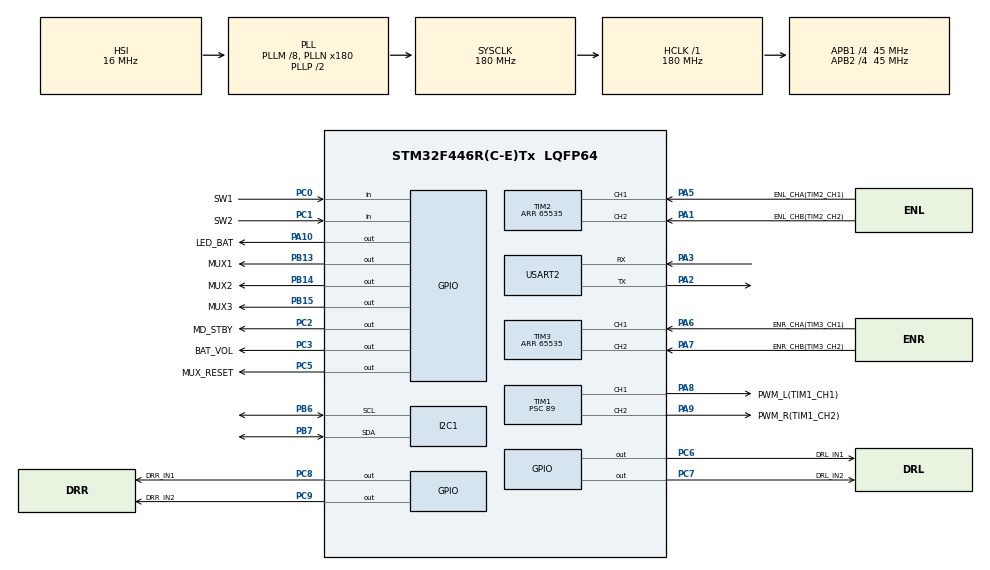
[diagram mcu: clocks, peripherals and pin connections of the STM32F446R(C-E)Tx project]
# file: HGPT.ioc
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I2C1.I2C_Mode=I2C_Standard
Mcu.Family=STM32F4
Mcu.Name=STM32F446R(C-E)Tx
Mcu.Package=LQFP64
NVIC.PriorityGroup=NVIC_PRIORITYGROUP_4
NVIC.TIM7_IRQn=true\:0\:0\:false\:false\:true\:true\:true
PA0-WKUP.Mode=SYS_WakeUp0
PA0-WKUP.Signal=SYS_WKUP0
PA1.GPIO_Label=ENL_CHB(TIM2_CH2)
PA1.Signal=S_TIM2_CH2
PA10.GPIO_Label=LED_BAT
PA10.Signal=GPIO_Output
PA13.Mode=JTAG_5_pins
PA13.Signal=SYS_JTMS-SWDIO
PA14.Mode=JTAG_5_pins
PA14.Signal=SYS_JTCK-SWCLK
PA15.Mode=JTAG_5_pins
PA15.Signal=SYS_JTDI
PA2.Mode=Asynchronous
PA2.Signal=USART2_TX
PA3.Mode=Asynchronous
PA3.Signal=USART2_RX
PA5.GPIO_Label=ENL_CHA(TIM2_CH1)
PA5.Signal=S_TIM2_CH1_ETR
PA6.GPIO_Label=ENR_CHA(TIM3_CH1)
PA6.Signal=S_TIM3_CH1
PA7.GPIO_Label=ENR_CHB(TIM3_CH2)
PA7.Signal=S_TIM3_CH2
PA8.GPIO_Label=PWM_L(TIM1_CH1)
PA8.Signal=S_TIM1_CH1
PA9.GPIO_Label=PWM_R(TIM1_CH2)
PA9.Signal=S_TIM1_CH2
PB13.GPIO_Label=MUX1
PB13.Signal=GPIO_Output
PB14.GPIO_Label=MUX2
PB14.Signal=GPIO_Output
PB15.GPIO_Label=MUX3
PB15.Signal=GPIO_Output
PB3.Mode=JTAG_5_pins
PB3.Signal=SYS_JTDO-SWO
PB4.Mode=JTAG_5_pins
PB4.Signal=SYS_JTRST
PB6.Mode=I2C
PB6.Signal=I2C1_SCL
PB7.Mode=I2C
PB7.Signal=I2C1_SDA
PC0.GPIO_Label=SW1
PC0.Signal=GPIO_Input
PC1.GPIO_Label=SW2
PC1.Signal=GPIO_Input
PC2.GPIO_Label=MD_STBY
PC2.Signal=GPIO_Output
PC3.GPIO_Label=BAT_VOL
PC3.Signal=GPIO_Output
PC5.GPIO_Label=MUX_RESET
PC5.Signal=GPIO_Output
PC6.GPIO_Label=DRL_IN1
PC6.Signal=GPIO_Output
PC7.GPIO_Label=DRL_IN2
PC7.Signal=GPIO_Output
PC8.GPIO_Label=DRR_IN1
PC8.Signal=GPIO_Output
PC9.GPIO_Label=DRR_IN2
PC9.Signal=GPIO_Output
PH0-OSC_IN.Mode=HSE-External-Clock-Source
PH0-OSC_IN.Signal=RCC_OSC_IN
PH1-OSC_OUT.Mode=HSE-External-Clock-Source
PH1-OSC_OUT.Signal=RCC_OSC_OUT
ProjectManager.HeapSize=0x200
ProjectManager.StackSize=0x400
ProjectManager.TargetToolchain=SW4STM32
RCC.AHBFreq_Value=180000000
RCC.APB1CLKDivider=RCC_HCLK_DIV4
RCC.APB1Freq_Value=45000000
RCC.APB1TimFreq_Value=90000000
RCC.APB2CLKDivider=RCC_HCLK_DIV4
RCC.APB2Freq_Value=45000000
RCC.APB2TimFreq_Value=90000000
RCC.CortexFreq_Value=180000000
RCC.HCLKFreq_Value=180000000
RCC.PLLM=8
RCC.PLLN=180
RCC.SYSCLKFreq_VALUE=180000000
RCC.SYSCLKSource=RCC_SYSCLKSOURCE_PLLCLK
RCC.USBFreq_Value=180000000
RCC.VCOOutputFreq_Value=360000000
SH.S_TIM1_CH1.0=TIM1_CH1,PWM Generation1 CH1
SH.S_TIM1_CH2.0=TIM1_CH2,PWM Generation2 CH2
SH.S_TIM2_CH1_ETR.0=TIM2_CH1,Encoder_Interface
SH.S_TIM2_CH2.0=TIM2_CH2,Encoder_Interface
SH.S_TIM3_CH1.0=TIM3_CH1,Encoder_Interface
SH.S_TIM3_CH2.0=TIM3_CH2,Encoder_Interface
TIM1.Channel-PWM\ Generation1\ CH1=TIM_CHANNEL_1
TIM1.Channel-PWM\ Generation2\ CH2=TIM_CHANNEL_2
TIM1.Period=999
TIM1.Prescaler=89
TIM2.EncoderMode=TIM_ENCODERMODE_TI12
TIM2.Period=65535
TIM3.EncoderMode=TIM_ENCODERMODE_TI12
TIM3.Period=65535
TIM7.AutoReloadPreload=TIM_AUTORELOAD_PRELOAD_ENABLE
TIM7.Period=999
TIM7.Prescaler=899
USART2.VirtualMode=VM_ASYNC
VP_TIM1_VS_ClockSourceINT.Mode=Internal
VP_TIM7_VS_ClockSourceINT.Mode=Enable_Timer
board=custom

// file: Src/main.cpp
/* USER CODE BEGIN Header */
/**
  ******************************************************************************
  * @file           : main.c
  * @brief          : Main program body
  ******************************************************************************
  * @attention
  *
  * <h2><center>&copy; Copyright (c) 2019 STMicroelectronics.
  * All rights reserved.</center></h2>
  *
  * This software component is licensed by ST under BSD 3-Clause license,
  * the "License"; You may not use this file except in compliance with the
  * License. You may obtain a copy of the License at:
  *                        opensource.org/licenses/BSD-3-Clause
  *
  ******************************************************************************
  */
/* USER CODE END Header */

#include "main.h"

/* USER CODE BEGIN Includes */
#include "led.hpp"
#include "motor.hpp"
#include "encoder.hpp"
#include "xprintf.h"
#include "mux.hpp"
#include "sensor.hpp"
#include "algo.hpp"
#include "transition.hpp"
/* USER CODE END Includes */

I2C_HandleTypeDef hi2c1;

TIM_HandleTypeDef htim1;
TIM_HandleTypeDef htim2;
TIM_HandleTypeDef htim3;
TIM_HandleTypeDef htim7;

UART_HandleTypeDef huart2;

void SystemClock_Config(void);
static void MX_GPIO_Init(void);
static void MX_I2C1_Init(void);
static void MX_TIM1_Init(void);
static void MX_TIM2_Init(void);
static void MX_TIM3_Init(void);
static void MX_USART2_UART_Init(void);
static void MX_TIM7_Init(void);

/* USER CODE BEGIN 0 */
LED led(GPIOA, GPIO_PIN_10);
Motor mtrl(&htim1, TIM_CHANNEL_1, GPIOC, GPIO_PIN_6, GPIOC, GPIO_PIN_7, GPIOC, GPIO_PIN_2);
Motor mtrr(&htim1, TIM_CHANNEL_2, GPIOC, GPIO_PIN_8, GPIOC, GPIO_PIN_9, GPIOC, GPIO_PIN_2);
Encoder encl(&htim2, TIM_CHANNEL_ALL, TIM2);
Encoder encr(&htim3, TIM_CHANNEL_ALL, TIM3);
mux myMux(GPIOC, GPIO_PIN_5, GPIOB, GPIO_PIN_13, GPIOB, GPIO_PIN_14, GPIOB, GPIO_PIN_15);
Sensor senFC(&hi2c1, &myMux, 0);
Sensor senFL(&hi2c1, &myMux, 1);
Sensor senLF(&hi2c1, &myMux, 2);
Sensor senLR(&hi2c1, &myMux, 3);
Sensor senRR(&hi2c1, &myMux, 4);
Sensor senRF(&hi2c1, &myMux, 5);
Sensor senFR(&hi2c1, &myMux, 6);
ALGO *algo;
TRANS *trans;
uint16_t lr = 0; // measurement in mm
uint16_t lf = 0; // measurement in mm
uint16_t fl = 0; // measurement in mm
uint16_t fc = 0; // measurement in mm
uint16_t fr = 0; // measurement in mm
uint16_t rf = 0; // measurement in mm
uint16_t rr = 0; // measurement in mm
float lrm = 0; // measurement in m
float lfm = 0; // measurement in m
float flm = 0; // measurement in m
float fcm = 0; // measurement in m
float frm = 0; // measurement in m
float rfm = 0; // measurement in m
float rrm = 0; // measurement in m
bool ready = false;

// Function definitions for xprintf
uint8_t uart_getc(void){
	uint8_t c = 0;
	char buf[1];
	HAL_UART_Receive(&huart2, (uint8_t *)buf, sizeof(buf), 0xFFFF);
	c = buf[0];
	return c;
}
void uart_putc(uint8_t c){
	char buf[1];
	buf[0] = c;
	HAL_UART_Transmit(&huart2, (uint8_t *)buf, sizeof(buf), 0xFFFF);
}
void uart_puts(char *str){
	while(*str){
		uart_putc(*str++);
	}
}
/* USER CODE END 0 */

int main(void)
{
  /* USER CODE BEGIN 1 */
 xdev_out(uart_putc);
 algo = new ALGO();
 trans = new TRANS();
  /* USER CODE END 1 */

  /* MCU Configuration--------------------------------------------------------*/

  /* Reset of all peripherals, Initializes the Flash interface and the Systick. */
  HAL_Init();

  /* Configure the system clock */
  SystemClock_Config();

  /* Initialize all configured peripherals */
  MX_GPIO_Init();
  MX_I2C1_Init();
  MX_TIM1_Init();
  MX_TIM2_Init();
  MX_TIM3_Init();
  MX_USART2_UART_Init();
  MX_TIM7_Init();
  /* USER CODE BEGIN 2 */

  // Start timer
  HAL_TIM_Base_Start_IT(&htim7);

  // Start left motor
  mtrl.start();
  mtrl.setPWMDuty(0);

  // Start right motor
  mtrr.start();
  mtrr.setPWMDuty(0);

  // Start Encoder
  encl.start();
  encr.start();

  // Initialize mux
  myMux.init();

  // Initialize sensors
  uint32_t delay_ms = 5;
  senLR.requestSingleMeasurement();
  HAL_Delay(delay_ms);
  senLF.requestSingleMeasurement();
  HAL_Delay(delay_ms);
  senFL.requestSingleMeasurement();
  HAL_Delay(delay_ms);
  senFC.requestSingleMeasurement();
  HAL_Delay(delay_ms);
  senFR.requestSingleMeasurement();
  HAL_Delay(delay_ms);
  senRF.requestSingleMeasurement();
  HAL_Delay(delay_ms);
  senRR.requestSingleMeasurement();
  HAL_Delay(delay_ms);

  // Start algorithm and transition
  trans->init();
  algo->init();

  // Blink LED to notify initialization complete
  for(int i=0;i<4;i++){
    led.on();
    HAL_Delay(50);
    led.off();
    HAL_Delay(50);
  }

  xprintf("Initialization complete\n");
  ready=true;
  /* USER CODE END 2 */

  /* Infinite loop */
  /* USER CODE BEGIN WHILE */
  while (1)
  {

    /* USER CODE BEGIN 3 */
	// Read switch
	bool sw1;
	if(HAL_GPIO_ReadPin(GPIOC, GPIO_PIN_0) == 1){
		sw1 = true;
	}else{
		sw1 = false;
	}
	bool sw2;
	if(HAL_GPIO_ReadPin(GPIOC, GPIO_PIN_1) == 1){
		sw2 = true;
	}else{
		sw2 = false;
	}

	// Read sensors
	uint32_t delay_ms = 2;

	lr = senLR.readSingleMeasurement(); // mm
	lrm = 0.001 * lr; // m
	HAL_Delay(delay_ms);

	lf = senLF.readSingleMeasurement(); // mm
	lfm = 0.001 * lf; // m
	HAL_Delay(delay_ms);

	fc = senFC.readSingleMeasurement(); // mm
	fcm = 0.001 * fc; // m
	HAL_Delay(delay_ms);

	fl = senFL.readSingleMeasurement(); // mm
	flm = 0.001 * fl; // m
	HAL_Delay(delay_ms);

	fr = senFR.readSingleMeasurement(); // mm
	frm = 0.001 * fr; // m
	HAL_Delay(delay_ms);

	rf = senRF.readSingleMeasurement(); // mm
	rfm = 0.001 * rf; // m
	HAL_Delay(delay_ms);

	rr = senRR.readSingleMeasurement(); // mm
	rrm = 0.001 * rr; // m
	HAL_Delay(delay_ms);

	// Blink LED
	static int i_blink=0;
	if((rf>100 && rf<300) || (fc>20 && fc<150)){
		if(i_blink==10){
			led.toggle();
			i_blink=0;
		}else{
			i_blink++;
		}
	}

	/*
	// Simple control logic
	float motTarVelL = 20*46/11;
	float motTarVelR = 20*46/11;
	if(fc>20 && fc<150){
		motTarVelL = 0;
		motTarVelR = 0;
	}
	else{
		if(rf>100 && rf<200){
			motTarVelL -= 50;
			motTarVelR += 50;
		}else{
			if(rf>100 && rf>200){
				motTarVelL += 50;
				motTarVelR -= 50;
			}
		}
	}
	*/

	// Control logic (switch algorithms)
	if(sw2){
		if(sw1){
			algo->calcTargetVelRH(fcm,flm,frm,lfm,lrm,rfm,rrm);
		}else{
			algo->calcTargetVelRH(fcm,flm,frm,lfm,lrm,rfm,rrm);
		}
	}else{
		if(sw1){
			algo->calcTargetVelDR(&encl, &encr);
		}else{
			algo->calcTargetVelDR(&encl, &encr);
		}
		// State transition for dead reckoning
		trans->takeTrans(algo->pos[0], algo->pos[1], algo);
	}

	// Convert wheel speed to motor speed
	float motTarVelL = algo->tarVelL * (46/11); // Compensate for gear ratio
	float motTarVelR = algo->tarVelR * (46/11); // Compensate for gear ratio

	// Set duty
	float k = 0.00047; // scale factor: target velocity -> duty
	mtrl.setPWMDuty(-k*motTarVelL);
	mtrr.setPWMDuty(k*motTarVelR);
  }
  /* USER CODE END 3 */
}

void SystemClock_Config(void)
{
  RCC_OscInitTypeDef RCC_OscInitStruct = {0};
  RCC_ClkInitTypeDef RCC_ClkInitStruct = {0};

  /** Configure the main internal regulator output voltage
  */
  __HAL_RCC_PWR_CLK_ENABLE();
  __HAL_PWR_VOLTAGESCALING_CONFIG(PWR_REGULATOR_VOLTAGE_SCALE1);
  /** Initializes the CPU, AHB and APB busses clocks
  */
  RCC_OscInitStruct.OscillatorType = RCC_OSCILLATORTYPE_HSI;
  RCC_OscInitStruct.HSIState = RCC_HSI_ON;
  RCC_OscInitStruct.HSICalibrationValue = RCC_HSICALIBRATION_DEFAULT;
  RCC_OscInitStruct.PLL.PLLState = RCC_PLL_ON;
  RCC_OscInitStruct.PLL.PLLSource = RCC_PLLSOURCE_HSI;
  RCC_OscInitStruct.PLL.PLLM = 8;
  RCC_OscInitStruct.PLL.PLLN = 180;
  RCC_OscInitStruct.PLL.PLLP = RCC_PLLP_DIV2;
  RCC_OscInitStruct.PLL.PLLQ = 2;
  RCC_OscInitStruct.PLL.PLLR = 2;
  if (HAL_RCC_OscConfig(&RCC_OscInitStruct) != HAL_OK)
  {
    Error_Handler();
  }
  /** Activate the Over-Drive mode
  */
  if (HAL_PWREx_EnableOverDrive() != HAL_OK)
  {
    Error_Handler();
  }
  /** Initializes the CPU, AHB and APB busses clocks
  */
  RCC_ClkInitStruct.ClockType = RCC_CLOCKTYPE_HCLK|RCC_CLOCKTYPE_SYSCLK
                              |RCC_CLOCKTYPE_PCLK1|RCC_CLOCKTYPE_PCLK2;
  RCC_ClkInitStruct.SYSCLKSource = RCC_SYSCLKSOURCE_PLLCLK;
  RCC_ClkInitStruct.AHBCLKDivider = RCC_SYSCLK_DIV1;
  RCC_ClkInitStruct.APB1CLKDivider = RCC_HCLK_DIV4;
  RCC_ClkInitStruct.APB2CLKDivider = RCC_HCLK_DIV4;

  if (HAL_RCC_ClockConfig(&RCC_ClkInitStruct, FLASH_LATENCY_5) != HAL_OK)
  {
    Error_Handler();
  }
}

static void MX_I2C1_Init(void)
{

  hi2c1.Instance = I2C1;
  hi2c1.Init.ClockSpeed = 100000;
  hi2c1.Init.DutyCycle = I2C_DUTYCYCLE_2;
  hi2c1.Init.OwnAddress1 = 0;
  hi2c1.Init.AddressingMode = I2C_ADDRESSINGMODE_7BIT;
  hi2c1.Init.DualAddressMode = I2C_DUALADDRESS_DISABLE;
  hi2c1.Init.OwnAddress2 = 0;
  hi2c1.Init.GeneralCallMode = I2C_GENERALCALL_DISABLE;
  hi2c1.Init.NoStretchMode = I2C_NOSTRETCH_DISABLE;
  if (HAL_I2C_Init(&hi2c1) != HAL_OK)
  {
    Error_Handler();
  }

}

static void MX_TIM1_Init(void)
{

  TIM_ClockConfigTypeDef sClockSourceConfig = {0};
  TIM_MasterConfigTypeDef sMasterConfig = {0};
  TIM_OC_InitTypeDef sConfigOC = {0};
  TIM_BreakDeadTimeConfigTypeDef sBreakDeadTimeConfig = {0};

  htim1.Instance = TIM1;
  htim1.Init.Prescaler = 89;
  htim1.Init.CounterMode = TIM_COUNTERMODE_UP;
  htim1.Init.Period = 999;
  htim1.Init.ClockDivision = TIM_CLOCKDIVISION_DIV1;
  htim1.Init.RepetitionCounter = 0;
  htim1.Init.AutoReloadPreload = TIM_AUTORELOAD_PRELOAD_DISABLE;
  if (HAL_TIM_Base_Init(&htim1) != HAL_OK)
  {
    Error_Handler();
  }
  sClockSourceConfig.ClockSource = TIM_CLOCKSOURCE_INTERNAL;
  if (HAL_TIM_ConfigClockSource(&htim1, &sClockSourceConfig) != HAL_OK)
  {
    Error_Handler();
  }
  if (HAL_TIM_PWM_Init(&htim1) != HAL_OK)
  {
    Error_Handler();
  }
  sMasterConfig.MasterOutputTrigger = TIM_TRGO_RESET;
  sMasterConfig.MasterSlaveMode = TIM_MASTERSLAVEMODE_DISABLE;
  if (HAL_TIMEx_MasterConfigSynchronization(&htim1, &sMasterConfig) != HAL_OK)
  {
    Error_Handler();
  }
  sConfigOC.OCMode = TIM_OCMODE_PWM1;
  sConfigOC.Pulse = 0;
  sConfigOC.OCPolarity = TIM_OCPOLARITY_HIGH;
  sConfigOC.OCNPolarity = TIM_OCNPOLARITY_HIGH;
  sConfigOC.OCFastMode = TIM_OCFAST_DISABLE;
  sConfigOC.OCIdleState = TIM_OCIDLESTATE_RESET;
  sConfigOC.OCNIdleState = TIM_OCNIDLESTATE_RESET;
  if (HAL_TIM_PWM_ConfigChannel(&htim1, &sConfigOC, TIM_CHANNEL_1) != HAL_OK)
  {
    Error_Handler();
  }
  if (HAL_TIM_PWM_ConfigChannel(&htim1, &sConfigOC, TIM_CHANNEL_2) != HAL_OK)
  {
    Error_Handler();
  }
  sBreakDeadTimeConfig.OffStateRunMode = TIM_OSSR_DISABLE;
  sBreakDeadTimeConfig.OffStateIDLEMode = TIM_OSSI_DISABLE;
  sBreakDeadTimeConfig.LockLevel = TIM_LOCKLEVEL_OFF;
  sBreakDeadTimeConfig.DeadTime = 0;
  sBreakDeadTimeConfig.BreakState = TIM_BREAK_DISABLE;
  sBreakDeadTimeConfig.BreakPolarity = TIM_BREAKPOLARITY_HIGH;
  sBreakDeadTimeConfig.AutomaticOutput = TIM_AUTOMATICOUTPUT_DISABLE;
  if (HAL_TIMEx_ConfigBreakDeadTime(&htim1, &sBreakDeadTimeConfig) != HAL_OK)
  {
    Error_Handler();
  }
  HAL_TIM_MspPostInit(&htim1);

}

static void MX_TIM2_Init(void)
{

  TIM_Encoder_InitTypeDef sConfig = {0};
  TIM_MasterConfigTypeDef sMasterConfig = {0};

  htim2.Instance = TIM2;
  htim2.Init.Prescaler = 0;
  htim2.Init.CounterMode = TIM_COUNTERMODE_UP;
  htim2.Init.Period = 65535;
  htim2.Init.ClockDivision = TIM_CLOCKDIVISION_DIV1;
  htim2.Init.AutoReloadPreload = TIM_AUTORELOAD_PRELOAD_DISABLE;
  sConfig.EncoderMode = TIM_ENCODERMODE_TI12;
  sConfig.IC1Polarity = TIM_ICPOLARITY_RISING;
  sConfig.IC1Selection = TIM_ICSELECTION_DIRECTTI;
  sConfig.IC1Prescaler = TIM_ICPSC_DIV1;
  sConfig.IC1Filter = 0;
  sConfig.IC2Polarity = TIM_ICPOLARITY_RISING;
  sConfig.IC2Selection = TIM_ICSELECTION_DIRECTTI;
  sConfig.IC2Prescaler = TIM_ICPSC_DIV1;
  sConfig.IC2Filter = 0;
  if (HAL_TIM_Encoder_Init(&htim2, &sConfig) != HAL_OK)
  {
    Error_Handler();
  }
  sMasterConfig.MasterOutputTrigger = TIM_TRGO_RESET;
  sMasterConfig.MasterSlaveMode = TIM_MASTERSLAVEMODE_DISABLE;
  if (HAL_TIMEx_MasterConfigSynchronization(&htim2, &sMasterConfig) != HAL_OK)
  {
    Error_Handler();
  }

}

static void MX_TIM3_Init(void)
{

  TIM_Encoder_InitTypeDef sConfig = {0};
  TIM_MasterConfigTypeDef sMasterConfig = {0};

  htim3.Instance = TIM3;
  htim3.Init.Prescaler = 0;
  htim3.Init.CounterMode = TIM_COUNTERMODE_UP;
  htim3.Init.Period = 65535;
  htim3.Init.ClockDivision = TIM_CLOCKDIVISION_DIV1;
  htim3.Init.AutoReloadPreload = TIM_AUTORELOAD_PRELOAD_DISABLE;
  sConfig.EncoderMode = TIM_ENCODERMODE_TI12;
  sConfig.IC1Polarity = TIM_ICPOLARITY_RISING;
  sConfig.IC1Selection = TIM_ICSELECTION_DIRECTTI;
  sConfig.IC1Prescaler = TIM_ICPSC_DIV1;
  sConfig.IC1Filter = 0;
  sConfig.IC2Polarity = TIM_ICPOLARITY_RISING;
  sConfig.IC2Selection = TIM_ICSELECTION_DIRECTTI;
  sConfig.IC2Prescaler = TIM_ICPSC_DIV1;
  sConfig.IC2Filter = 0;
  if (HAL_TIM_Encoder_Init(&htim3, &sConfig) != HAL_OK)
  {
    Error_Handler();
  }
  sMasterConfig.MasterOutputTrigger = TIM_TRGO_RESET;
  sMasterConfig.MasterSlaveMode = TIM_MASTERSLAVEMODE_DISABLE;
  if (HAL_TIMEx_MasterConfigSynchronization(&htim3, &sMasterConfig) != HAL_OK)
  {
    Error_Handler();
  }

}

static void MX_TIM7_Init(void)
{

  TIM_MasterConfigTypeDef sMasterConfig = {0};

  htim7.Instance = TIM7;
  htim7.Init.Prescaler = 899;
  htim7.Init.CounterMode = TIM_COUNTERMODE_UP;
  htim7.Init.Period = 999;
  htim7.Init.AutoReloadPreload = TIM_AUTORELOAD_PRELOAD_ENABLE;
  if (HAL_TIM_Base_Init(&htim7) != HAL_OK)
  {
    Error_Handler();
  }
  sMasterConfig.MasterOutputTrigger = TIM_TRGO_RESET;
  sMasterConfig.MasterSlaveMode = TIM_MASTERSLAVEMODE_DISABLE;
  if (HAL_TIMEx_MasterConfigSynchronization(&htim7, &sMasterConfig) != HAL_OK)
  {
    Error_Handler();
  }

}
static void MX_USART2_UART_Init(void)
{

  huart2.Instance = USART2;
  huart2.Init.BaudRate = 115200;
  huart2.Init.WordLength = UART_WORDLENGTH_8B;
  huart2.Init.StopBits = UART_STOPBITS_1;
  huart2.Init.Parity = UART_PARITY_NONE;
  huart2.Init.Mode = UART_MODE_TX_RX;
  huart2.Init.HwFlowCtl = UART_HWCONTROL_NONE;
  huart2.Init.OverSampling = UART_OVERSAMPLING_16;
  if (HAL_UART_Init(&huart2) != HAL_OK)
  {
    Error_Handler();
  }

}

static void MX_GPIO_Init(void)
{
  GPIO_InitTypeDef GPIO_InitStruct = {0};

  /* GPIO Ports Clock Enable */
  __HAL_RCC_GPIOH_CLK_ENABLE();
  __HAL_RCC_GPIOC_CLK_ENABLE();
  __HAL_RCC_GPIOA_CLK_ENABLE();
  __HAL_RCC_GPIOB_CLK_ENABLE();

  /*Configure GPIO pin Output Level */
  HAL_GPIO_WritePin(GPIOC, MD_STBY_Pin|BAT_VOL_Pin|MUX_RESET_Pin|DRL_IN1_Pin
                          |DRL_IN2_Pin|DRR_IN1_Pin|DRR_IN2_Pin, GPIO_PIN_RESET);

  /*Configure GPIO pin Output Level */
  HAL_GPIO_WritePin(GPIOB, MUX1_Pin|MUX2_Pin|MUX3_Pin, GPIO_PIN_RESET);

  /*Configure GPIO pin Output Level */
  HAL_GPIO_WritePin(LED_BAT_GPIO_Port, LED_BAT_Pin, GPIO_PIN_RESET);

  /*Configure GPIO pins : SW1_Pin SW2_Pin */
  GPIO_InitStruct.Pin = SW1_Pin|SW2_Pin;
  GPIO_InitStruct.Mode = GPIO_MODE_INPUT;
  GPIO_InitStruct.Pull = GPIO_NOPULL;
  HAL_GPIO_Init(GPIOC, &GPIO_InitStruct);

  /*Configure GPIO pins : MD_STBY_Pin BAT_VOL_Pin MUX_RESET_Pin DRL_IN1_Pin
                           DRL_IN2_Pin DRR_IN1_Pin DRR_IN2_Pin */
  GPIO_InitStruct.Pin = MD_STBY_Pin|BAT_VOL_Pin|MUX_RESET_Pin|DRL_IN1_Pin
                          |DRL_IN2_Pin|DRR_IN1_Pin|DRR_IN2_Pin;
  GPIO_InitStruct.Mode = GPIO_MODE_OUTPUT_PP;
  GPIO_InitStruct.Pull = GPIO_NOPULL;
  GPIO_InitStruct.Speed = GPIO_SPEED_FREQ_LOW;
  HAL_GPIO_Init(GPIOC, &GPIO_InitStruct);

  /*Configure GPIO pins : MUX1_Pin MUX2_Pin MUX3_Pin */
  GPIO_InitStruct.Pin = MUX1_Pin|MUX2_Pin|MUX3_Pin;
  GPIO_InitStruct.Mode = GPIO_MODE_OUTPUT_PP;
  GPIO_InitStruct.Pull = GPIO_NOPULL;
  GPIO_InitStruct.Speed = GPIO_SPEED_FREQ_LOW;
  HAL_GPIO_Init(GPIOB, &GPIO_InitStruct);

  /*Configure GPIO pin : LED_BAT_Pin */
  GPIO_InitStruct.Pin = LED_BAT_Pin;
  GPIO_InitStruct.Mode = GPIO_MODE_OUTPUT_PP;
  GPIO_InitStruct.Pull = GPIO_NOPULL;
  GPIO_InitStruct.Speed = GPIO_SPEED_FREQ_LOW;
  HAL_GPIO_Init(LED_BAT_GPIO_Port, &GPIO_InitStruct);

}

/* USER CODE BEGIN 4 */

void Process_100Hz(){
  /*
   static float direction = 1;
  static float duty = 0;
  static int count=0;
  static int dist=0; //mm
  */

  if(ready){
	  /*
	  // Set new duty
	  if(duty>0.2) direction = -1;
	  if(duty<-0.2) direction = 1;
	  duty += direction*0.002;
	  int32_t rotl=encl.count();
	  int32_t rotr=encr.count();
	  dist=rotl*27*3.14*11/46/512;	//R=27 /4 magic number
	  // Run left motor

	 // uint16_t dist=VL53L0X_read();
	//  xprintf("RES: %d�@mm  \n",dist);
	  // Toggle LED
	  if(dist>3000){
	  		  led.off();
	  		  duty=0;
	  	  }else{
	  		  duty=0.5;

	  	  if(count%50)
	  	  {
		  	  led.off();
	  	  }else
	  	  {
		  	  led.on();
	  	  }
	  }
	  ++count;

	  mtrl.setPWMDuty(-duty);
	  mtrr.setPWMDuty(duty);
	  xprintf("rot,dist=");
	  xprintf("%d,%d\n",rotl,dist);
	  */

	  /*
	  float lr = 0.001*(float)senLR.readSingleMeasurement(); // mm -> m
	  float lf = 0.001*(float)senLF.readSingleMeasurement(); // mm -> m
	  float fl = 0.001*(float)senFL.readSingleMeasurement(); // mm -> m
	  float fc = 0.001*(float)senFC.readSingleMeasurement(); // mm -> m
	  float fr = 0.001*(float)senFR.readSingleMeasurement(); // mm -> m
	  float rf = 0.001*(float)senRF.readSingleMeasurement(); // mm -> m
	  float rr = 0.001*(float)senRR.readSingleMeasurement(); // mm -> m

	  algo->calcTargetVelRH(fc,fl,fr,lf,lr,rf,rr);
	  //algo->calcTargetVelDR(&encl, &encr);

	  float k = 0.0005; // scale factor: target velocity -> duty
	  float motTarVelL = algo->tarVelL * (46/11); // Compensate for gear ratio
	  float motTarVelR = algo->tarVelR * (46/11); // Compensate for gear ratio
	  mtrl.setPWMDuty(k*motTarVelL);
	  mtrr.setPWMDuty(-k*motTarVelR);
	  //motLF->setTargetVel(clientID, algo->tarVelL);
	  //motLR->setTargetVel(clientID, algo->tarVelL);
	  //motRF->setTargetVel(clientID, algo->tarVelR);
	  //motRR->setTargetVel(clientID, algo->tarVelR);
	  trans->takeTrans(algo->pos[0], algo->pos[1], algo);
	  */
  }

}

/* USER CODE END 4 */

void Error_Handler(void)
{
}

/************************ (C) COPYRIGHT STMicroelectronics *****END OF FILE****/
